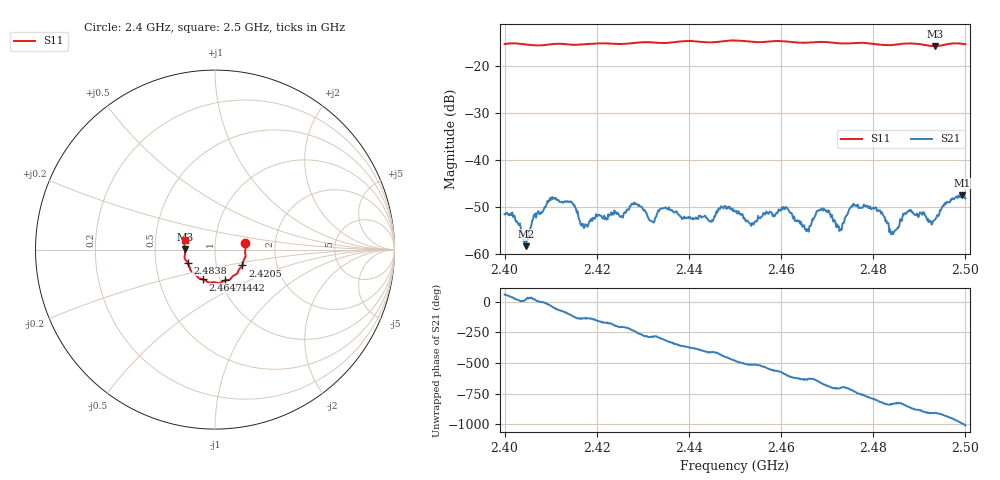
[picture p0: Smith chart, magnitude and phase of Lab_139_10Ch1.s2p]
# Hz S RI R 50
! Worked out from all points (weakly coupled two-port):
!   601 points, 2.4 GHz to 2.5 GHz, reference 50 ohm
!   highest |S21| = -47.43 dB at 2.4993 GHz (marker M1); lowest = -58.3 dB at 2.4047 GHz (marker M2)
!   lowest |S11| = -15.6 dB at 2.4935 GHz (marker M3), VSWR 1.40, Z = 35.8 + j0.138 ohm
!   |S11| at or under -10 dB: start of sweep to end of sweep
!   S12 and S22 are empty: the file has one direction only
!   S11 on the Smith chart (normalised r, x): 2.4 GHz: 1.40, +0.11; 2.4205 GHz: 1.34, -0.24; 2.4442 GHz: 1.05, -0.37; 2.4647 GHz: 0.83, -0.29; 2.4838 GHz: 0.73, -0.11; 2.5 GHz: 0.71, +0.08
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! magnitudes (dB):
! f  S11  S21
! 2.4 GHz  -15.2  -51.5
! 2.4047 GHz  -15.3  -58.3
! 2.4103 GHz  -15.2  -47.8
! 2.4147 GHz  -15.4  -49.1
! 2.4167 GHz  -15.3  -54.0
! 2.4205 GHz  -15.1  -51.6
! 2.4333 GHz  -15.0  -50.7
! 2.4442 GHz  -14.8  -52.7
! 2.45 GHz  -14.4  -50.9
! 2.4537 GHz  -14.7  -53.4
! 2.461 GHz  -14.7  -50.0
! 2.4647 GHz  -14.9  -54.2
! 2.4667 GHz  -14.8  -53.2
! 2.469 GHz  -14.8  -50.3
! 2.4728 GHz  -15.1  -54.7
! 2.4762 GHz  -15.0  -49.7
! 2.4833 GHz  -15.5  -53.5
! 2.4838 GHz  -15.4  -55.7
! 2.4878 GHz  -15.1  -50.7
! 2.4935 GHz  -15.6  -52.5
! 2.4993 GHz  -15.2  -47.4
! 2.5 GHz  -15.2  -48.2
